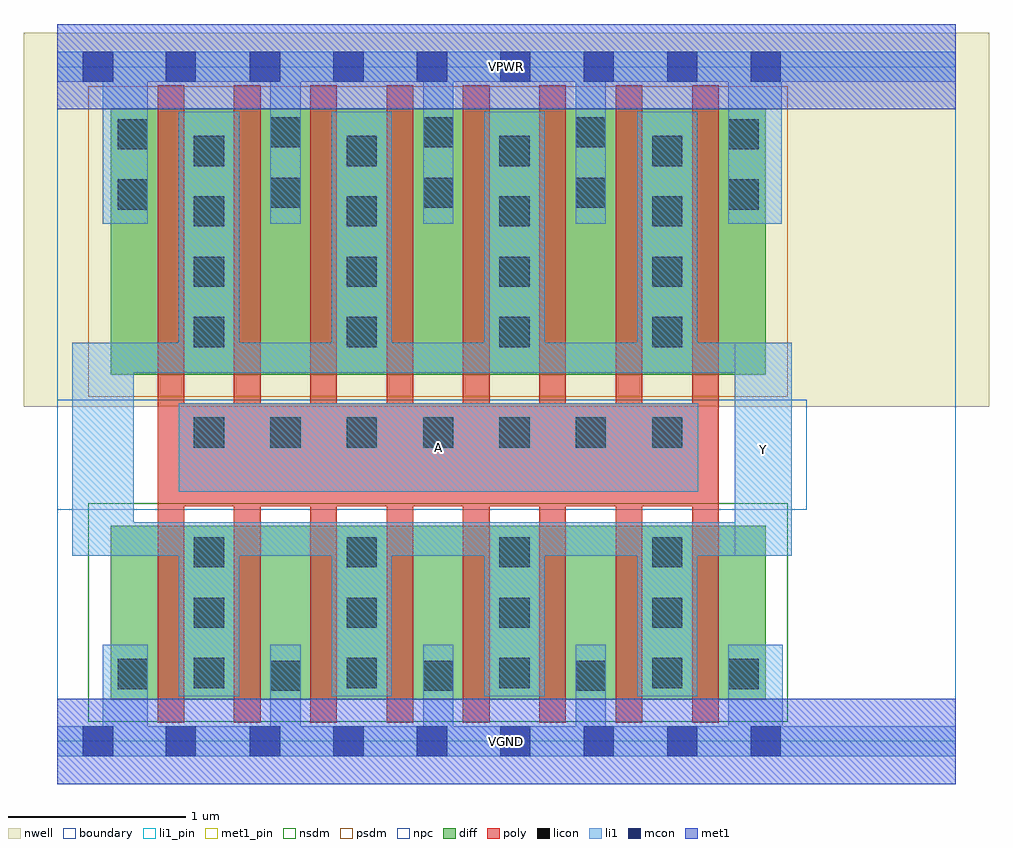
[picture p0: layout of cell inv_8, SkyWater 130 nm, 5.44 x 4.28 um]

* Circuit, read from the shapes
.subckt inv_8 A VGND VPWR Y
XM1 Y A VGND VSUBS sky130_fd_pr__nfet_01v8 w=0.98 l=0.15 m=8
XM2 Y A VPWR n1 sky130_fd_pr__pfet_01v8 w=1.5 l=0.15 m=8
.ends

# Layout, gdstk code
import gdstk
lib = gdstk.Library(unit=1e-6, precision=1e-09)
def R(c, l, rs):  # rectangles x0, y0, x1, y1
    for r in rs: c.add(gdstk.rectangle(r[:2], r[2:], *l))
def A(c, l, x, y, w, h, nx, ny, dx, dy):  # array of equal rectangles
    R(c, l, [(x+i*dx, y+j*dy, x+i*dx+w, y+j*dy+h) for i in range(nx) for j in range(ny)])
nwell = (64, 20)
diff = (65, 20)
poly = (66, 20)
licon = (66, 44)
li1_pin = (67, 16)
li1 = (67, 20)
mcon = (67, 44)
met1_pin = (68, 16)
met1 = (68, 20)
nsdm = (93, 44)
psdm = (94, 20)
npc = (95, 20)
boundary = (235, 4)

inv_8 = lib.new_cell('inv_8')
R(inv_8, nwell, [(-0.19,1.885,5.25,3.99), (0,1.885,5.06,3.99)])
R(inv_8, diff, [(0.3,0.235,3.99,1.215), (0.3,2.065,3.99,3.565)])
A(inv_8, poly, 0.565, 0.105, 0.15, 3.59, 8, 1, 0.43, 0)
R(inv_8, poly, [(0.565,1.325,3.725,1.905)])
A(inv_8, licon, 1.2, 0.285, 0.17, 0.17, 3, 2, 0.86, 2.72)
A(inv_8, licon, 0.77, 0.3, 0.17, 0.17, 4, 3, 0.86, 0.34)
A(inv_8, licon, 0.77, 1.655, 0.17, 0.17, 7, 1, 0.43, 0)
A(inv_8, licon, 0.77, 2.22, 0.17, 0.17, 4, 4, 0.86, 0.34)
A(inv_8, licon, 1.2, 3.345, 0.17, 0.17, 3, 1, 0.86, 0)
R(inv_8, licon, [(0.34,0.295,0.51,0.465), (3.78,0.295,3.95,0.465), (0.34,2.995,0.51,3.165), (3.78,2.995,3.95,3.165), (0.34,3.335,0.51,3.505), (3.78,3.335,3.95,3.505)])
R(inv_8, li1_pin, [(3.815,1.045,4.135,2.245), (0.685,1.405,3.61,1.905)])
A(inv_8, li1, 1.2, -0.085, 0.17, 0.63, 3, 1, 0.86, 0)
A(inv_8, li1, 0.685, 0.255, 0.34, 0.98, 4, 1, 0.86, 0)
A(inv_8, li1, 0.685, 2.075, 0.34, 1.47, 4, 1, 0.86, 0)
A(inv_8, li1, 1.2, 2.915, 0.17, 0.97, 3, 1, 0.86, 0)
R(inv_8, li1, [(0,-0.085,5.06,0.085), (0.255,-0.085,0.51,0.545), (3.78,-0.085,4.085,0.545), (0.085,1.045,4.135,1.235), (0.085,1.045,0.43,2.245), (3.815,1.045,4.135,2.245), (0.685,1.405,3.61,1.905), (0.085,2.075,4.135,2.245), (0.255,2.915,0.51,3.885), (3.78,2.915,4.08,3.885), (0,3.715,5.06,3.885)])
A(inv_8, mcon, 1.085, -0.085, 0.17, 0.17, 7, 2, 0.47, 3.8)
R(inv_8, mcon, [(0.145,-0.085,0.315,0.085), (0.61,-0.085,0.78,0.085), (0.145,3.715,0.315,3.885), (0.61,3.715,0.78,3.885)])
R(inv_8, met1_pin, [(0,-0.24,5.06,0.24), (0,3.56,5.06,4.04)])
R(inv_8, met1, [(0,-0.24,5.06,0.24), (0,3.56,5.06,4.04)])
R(inv_8, nsdm, [(0.175,0.11,4.115,1.34)])
R(inv_8, psdm, [(0.175,1.94,4.115,3.69)])
R(inv_8, npc, [(0,1.305,4.22,1.925)])
R(inv_8, boundary, [(0,0,5.06,3.8)])
inv_8.add(gdstk.Label('A', (2.147,1.655), layer=67, texttype=5))
inv_8.add(gdstk.Label('Y', (3.975,1.645), layer=67, texttype=5))
inv_8.add(gdstk.Label('VPWR', (2.53,3.8), layer=68, texttype=5))
inv_8.add(gdstk.Label('VGND', (2.53,0), layer=68, texttype=5))
inv_8.add(gdstk.Label('A', (2.147,1.655), layer=67, texttype=16))
inv_8.add(gdstk.Label('Y', (3.975,1.645), layer=67, texttype=16))
inv_8.add(gdstk.Label('VPWR', (2.53,3.8), layer=68, texttype=16))
inv_8.add(gdstk.Label('VGND', (2.53,0), layer=68, texttype=16))

lib.write_gds('inv_8.gds')
